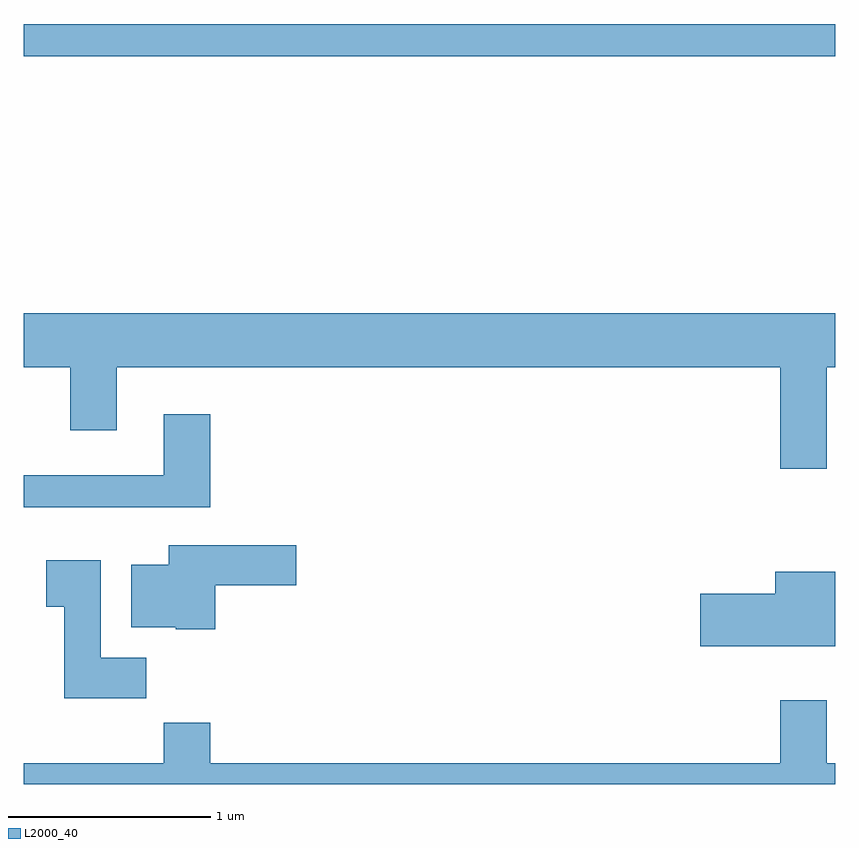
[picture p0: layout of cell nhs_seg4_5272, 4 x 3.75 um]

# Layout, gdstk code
import gdstk
lib = gdstk.Library(unit=1e-6, precision=1e-09)
def R(c, l, rs):  # rectangles x0, y0, x1, y1
    for r in rs: c.add(gdstk.rectangle(r[:2], r[2:], *l))
def P(c, l, *ps):  # polygons
    for p in ps: c.add(gdstk.Polygon(p, *l))
L2000_40 = (2000, 40)

nhs_seg4_5272 = lib.new_cell('nhs_seg4_5272')
R(nhs_seg4_5272, L2000_40, [(339.611,1329.571,343.611,1329.729)])
P(nhs_seg4_5272, L2000_40, [(343.569,1328.036),(343.611,1328.036),(343.611,1328.304),(339.611,1328.304),(339.611,1328.036),(339.841,1328.036),(339.841,1327.726),(340.069,1327.726),(340.069,1328.036),(343.341,1328.036),(343.341,1327.536),(343.569,1327.536)],
  [(340.529,1327.804),(340.301,1327.804),(340.301,1327.504),(339.611,1327.504),(339.611,1327.346),(340.529,1327.346)],
  [(340.554,1326.961),(340.954,1326.961),(340.954,1327.159),(340.326,1327.159),(340.326,1327.064),(340.141,1327.064),(340.141,1326.756),(340.36,1326.756),(340.36,1326.746),(340.554,1326.746)],
  [(340.214,1326.604),(339.989,1326.604),(339.989,1327.084),(339.721,1327.084),(339.721,1326.856),(339.811,1326.856),(339.811,1326.406),(340.214,1326.406)],
  [(343.611,1327.029),(343.316,1327.029),(343.316,1326.919),(342.946,1326.919),(342.946,1326.661),(343.611,1326.661)],
  [(343.611,1326.084),(343.569,1326.084),(343.569,1326.394),(343.341,1326.394),(343.341,1326.084),(340.529,1326.084),(340.529,1326.284),(340.301,1326.284),(340.301,1326.084),(339.611,1326.084),(339.611,1325.982),(343.611,1325.982)])

lib.write_gds('nhs_seg4_5272.gds')
